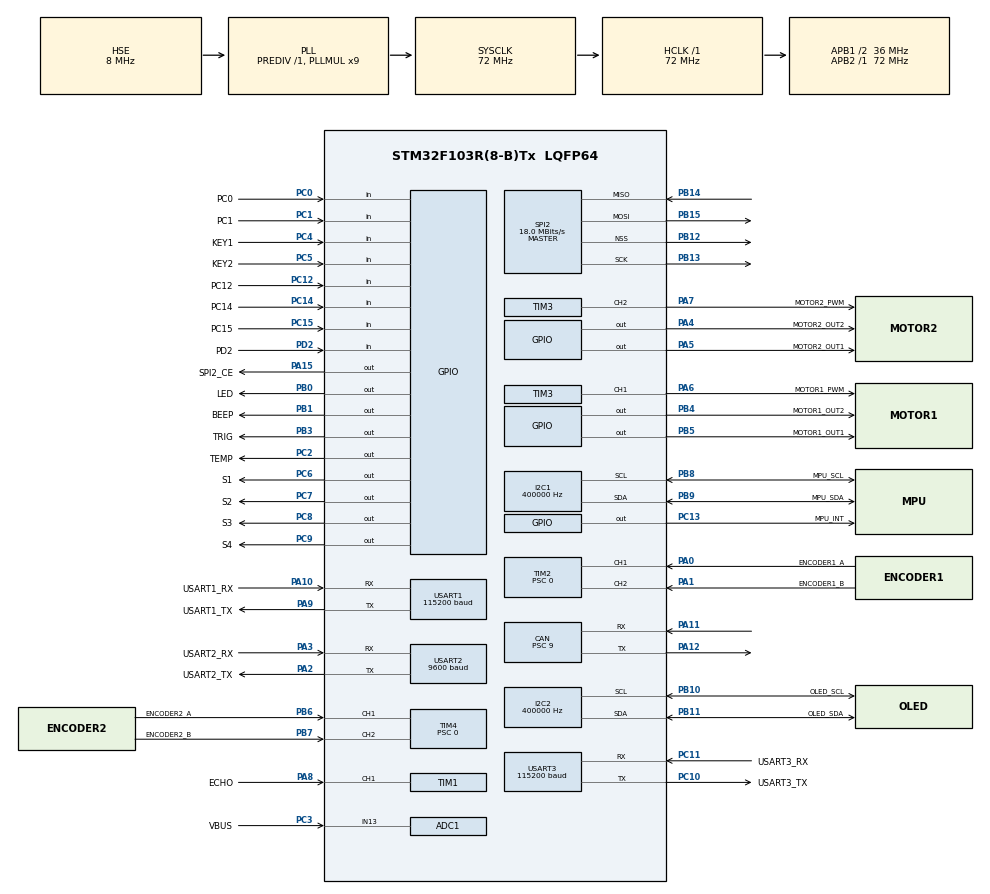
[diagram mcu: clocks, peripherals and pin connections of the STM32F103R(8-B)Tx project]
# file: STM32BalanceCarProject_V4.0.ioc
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ADC1.Channel-0\#ChannelRegularConversion=ADC_CHANNEL_13
ADC1.Channel-IN13=ADC_CHANNEL_13
ADC1.ContinuousConvMode=ENABLE
ADC1.DataAlign=ADC_DATAALIGN_RIGHT
ADC1.DiscontinuousConvMode=DISABLE
ADC1.EnableAnalogWatchDog=false
ADC1.EnableInjectedConversion=DISABLE
ADC1.EnableRegularConversion=ENABLE
ADC1.ExternalTrigConv=ADC_SOFTWARE_START
ADC1.Mode=__NULL
ADC1.NbrOfConversion=1
ADC1.Rank-0\#ChannelRegularConversion=1
ADC1.SamplingTime-0\#ChannelRegularConversion=ADC_SAMPLETIME_1CYCLE_5
ADC1.ScanConvMode=ADC_SCAN_DISABLE
ADC1.master=1
CAN.ABOM=DISABLE
CAN.AWUM=DISABLE
CAN.BS1=CAN_BS1_6TQ
CAN.BS2=CAN_BS2_1TQ
CAN.CalculateBaudRate=500000
CAN.CalculateTimeBit=2000
CAN.CalculateTimeQuantum=250.0
CAN.Mode=CAN_MODE_NORMAL
CAN.NART=DISABLE
CAN.Prescaler=9
CAN.RFLM=DISABLE
CAN.SJW=CAN_SJW_1TQ
CAN.TTCM=DISABLE
CAN.TXFP=DISABLE
I2C1.AddressingMode=I2C_ADDRESSINGMODE_7BIT
I2C1.ClockSpeed=400000
I2C1.DualAddressMode=I2C_DUALADDRESS_DISABLE
I2C1.DutyCycle=I2C_DUTYCYCLE_2
I2C1.GeneralCallMode=I2C_GENERALCALL_DISABLE
I2C1.I2C_Mode=I2C_Fast
I2C1.NoStretchMode=I2C_NOSTRETCH_DISABLE
I2C1.OwnAddress=0
I2C2.AddressingMode=I2C_ADDRESSINGMODE_7BIT
I2C2.ClockSpeed=400000
I2C2.DualAddressMode=I2C_DUALADDRESS_DISABLE
I2C2.DutyCycle=I2C_DUTYCYCLE_2
I2C2.GeneralCallMode=I2C_GENERALCALL_DISABLE
I2C2.I2C_Mode=I2C_Fast
I2C2.NoStretchMode=I2C_NOSTRETCH_DISABLE
I2C2.OwnAddress=0
Mcu.Family=STM32F1
Mcu.Name=STM32F103R(8-B)Tx
Mcu.Package=LQFP64
NVIC.PriorityGroup=NVIC_PRIORITYGROUP_4
NVIC.TIM1_CC_IRQn=true\:2\:0\:true\:false\:true\:true\:true\:true
NVIC.TIM1_UP_IRQn=true\:1\:0\:true\:false\:true\:true\:true\:true
NVIC.USART2_IRQn=true\:0\:0\:false\:false\:true\:true\:true\:true
NVIC.USB_LP_CAN1_RX0_IRQn=true\:0\:0\:false\:false\:true\:true\:true\:true
PA0-WKUP.GPIO_Label=ENCODER1_A
PA0-WKUP.Signal=S_TIM2_CH1_ETR
PA1.GPIO_Label=ENCODER1_B
PA1.Signal=S_TIM2_CH2
PA10.GPIO_Label=USART1_RX
PA10.Mode=Asynchronous
PA10.Signal=USART1_RX
PA11.Mode=CAN_Activate
PA11.Signal=CAN_RX
PA12.Mode=CAN_Activate
PA12.Signal=CAN_TX
PA13.Mode=Serial_Wire
PA13.Signal=SYS_JTMS-SWDIO
PA14.Mode=Serial_Wire
PA14.Signal=SYS_JTCK-SWCLK
PA15.GPIO_Label=SPI2_CE
PA15.Signal=GPIO_Output
PA2.GPIO_Label=USART2_TX
PA2.Mode=Asynchronous
PA2.Signal=USART2_TX
PA3.GPIO_Label=USART2_RX
PA3.Mode=Asynchronous
PA3.Signal=USART2_RX
PA4.GPIO_Label=MOTOR2_OUT2
PA4.PinState=GPIO_PIN_RESET
PA4.Signal=GPIO_Output
PA5.GPIO_Label=MOTOR2_OUT1
PA5.Signal=GPIO_Output
PA6.GPIO_Label=MOTOR1_PWM
PA6.Signal=S_TIM3_CH1
PA7.GPIO_Label=MOTOR2_PWM
PA7.Signal=S_TIM3_CH2
PA8.GPIO_Label=ECHO
PA8.Signal=S_TIM1_CH1
PA9.GPIO_Label=USART1_TX
PA9.Mode=Asynchronous
PA9.Signal=USART1_TX
PB0.GPIO_Label=LED
PB0.Signal=GPIO_Output
PB1.GPIO_Label=BEEP
PB1.PinState=GPIO_PIN_RESET
PB1.Signal=GPIO_Output
PB10.GPIO_Label=OLED_SCL
PB10.Mode=I2C
PB10.Signal=I2C2_SCL
PB11.GPIO_Label=OLED_SDA
PB11.Mode=I2C
PB11.Signal=I2C2_SDA
PB12.Mode=NSS_Signal_Hard_Output
PB12.Signal=SPI2_NSS
PB13.Mode=Full_Duplex_Master
PB13.Signal=SPI2_SCK
PB14.Mode=Full_Duplex_Master
PB14.Signal=SPI2_MISO
PB15.Mode=Full_Duplex_Master
PB15.Signal=SPI2_MOSI
PB3.GPIO_Label=TRIG
PB3.Signal=GPIO_Output
PB4.GPIO_Label=MOTOR1_OUT2
PB4.PinState=GPIO_PIN_RESET
PB4.Signal=GPIO_Output
PB5.GPIO_Label=MOTOR1_OUT1
PB5.Signal=GPIO_Output
PB6.GPIO_Label=ENCODER2_A
PB6.Signal=S_TIM4_CH1
PB7.GPIO_Label=ENCODER2_B
PB7.Signal=S_TIM4_CH2
PB8.GPIO_Label=MPU_SCL
PB8.Mode=I2C
PB8.Signal=I2C1_SCL
PB9.GPIO_Label=MPU_SDA
PB9.Mode=I2C
PB9.Signal=I2C1_SDA
PC0.GPIO_Label=PC0
PC0.Signal=GPIO_Input
PC1.GPIO_Label=PC1
PC1.Signal=GPIO_Input
PC10.GPIO_Label=USART3_TX
PC10.Mode=Asynchronous
PC10.Signal=USART3_TX
PC11.GPIO_Label=USART3_RX
PC11.Mode=Asynchronous
PC11.Signal=USART3_RX
PC12.GPIO_Label=PC12
PC12.Signal=GPIO_Input
PC13-TAMPER-RTC.GPIO_Label=MPU_INT
PC13-TAMPER-RTC.Signal=GPIO_Output
PC14-OSC32_IN.GPIO_Label=PC14
PC14-OSC32_IN.Signal=GPIO_Input
PC15-OSC32_OUT.GPIO_Label=PC15
PC15-OSC32_OUT.Signal=GPIO_Input
PC2.GPIO_Label=TEMP
PC2.GPIO_ModeDefaultOutputPP=GPIO_MODE_OUTPUT_OD
PC2.GPIO_PuPd=GPIO_NOPULL
PC2.GPIO_Speed=GPIO_SPEED_FREQ_HIGH
PC2.PinState=GPIO_PIN_SET
PC2.Signal=GPIO_Output
PC3.GPIO_Label=VBUS
PC3.Signal=ADCx_IN13
PC4.GPIO_Label=KEY1
PC4.GPIO_PuPd=GPIO_PULLUP
PC4.Signal=GPIO_Input
PC5.GPIO_Label=KEY2
PC5.GPIO_PuPd=GPIO_PULLUP
PC5.Signal=GPIO_Input
PC6.GPIO_Label=S1
PC6.Signal=GPIO_Output
PC7.GPIO_Label=S2
PC7.Signal=GPIO_Output
PC8.GPIO_Label=S3
PC8.Signal=GPIO_Output
PC9.GPIO_Label=S4
PC9.Signal=GPIO_Output
PD0-OSC_IN.Mode=HSE-External-Oscillator
PD0-OSC_IN.Signal=RCC_OSC_IN
PD1-OSC_OUT.Mode=HSE-External-Oscillator
PD1-OSC_OUT.Signal=RCC_OSC_OUT
PD2.GPIO_Label=PD2
PD2.Signal=GPIO_Input
ProjectManager.HeapSize=0x200
ProjectManager.StackSize=0x400
ProjectManager.TargetToolchain=MDK-ARM V5.32
RCC.ADCPresc=RCC_ADCPCLK2_DIV6
RCC.AHBFreq_Value=72000000
RCC.APB1CLKDivider=RCC_HCLK_DIV2
RCC.APB1Freq_Value=36000000
RCC.APB1TimFreq_Value=72000000
RCC.APB2Freq_Value=72000000
RCC.APB2TimFreq_Value=72000000
RCC.FLatency=FLASH_LATENCY_2
RCC.HCLKFreq_Value=72000000
RCC.PLLMUL=RCC_PLL_MUL9
RCC.PLLSourceVirtual=RCC_PLLSOURCE_HSE
RCC.SYSCLKFreq_VALUE=72000000
RCC.SYSCLKSource=RCC_SYSCLKSOURCE_PLLCLK
RCC.USBFreq_Value=72000000
SH.ADCx_IN13.0=ADC1_IN13,IN13
SH.S_TIM1_CH1.0=TIM1_CH1,Input_Capture1_from_TI1
SH.S_TIM2_CH1_ETR.0=TIM2_CH1,Encoder_Interface
SH.S_TIM2_CH2.0=TIM2_CH2,Encoder_Interface
SH.S_TIM3_CH1.0=TIM3_CH1,PWM Generation1 CH1
SH.S_TIM3_CH2.0=TIM3_CH2,PWM Generation2 CH2
SH.S_TIM4_CH1.0=TIM4_CH1,Encoder_Interface
SH.S_TIM4_CH2.0=TIM4_CH2,Encoder_Interface
SPI2.BaudRatePrescaler=SPI_BAUDRATEPRESCALER_2
SPI2.CLKPhase=SPI_PHASE_1EDGE
SPI2.CLKPolarity=SPI_POLARITY_LOW
SPI2.CRCCalculation=SPI_CRCCALCULATION_DISABLE
SPI2.CalculateBaudRate=18.0 MBits/s
SPI2.DataSize=SPI_DATASIZE_8BIT
SPI2.Direction=SPI_DIRECTION_2LINES
SPI2.FirstBit=SPI_FIRSTBIT_MSB
SPI2.Mode=SPI_MODE_MASTER
SPI2.NSS=SPI_NSS_HARD_OUTPUT
SPI2.TIMode=SPI_TIMODE_DISABLE
SPI2.VirtualNSS=VM_NSSHARD
SPI2.VirtualType=VM_MASTER
TIM1.AutoReloadPreload=TIM_AUTORELOAD_PRELOAD_ENABLE
TIM1.Channel-Input_Capture1_from_TI1=TIM_CHANNEL_1
TIM1.ClockDivision=TIM_CLOCKDIVISION_DIV1
TIM1.CounterMode=TIM_COUNTERMODE_UP
TIM1.ICFilter_CH1=0
TIM1.ICPolarity_CH1=TIM_INPUTCHANNELPOLARITY_RISING
TIM1.ICPrescaler-Input_Capture1_from_TI1=TIM_ICPSC_DIV1
TIM1.ICSelection-Input_Capture1_from_TI1=TIM_ICSELECTION_DIRECTTI
TIM1.Period=65535
TIM1.Prescaler=71
TIM1.RepetitionCounter=0
TIM1.TIM_MasterOutputTrigger=TIM_TRGO_RESET
TIM1.TIM_MasterSlaveMode=TIM_MASTERSLAVEMODE_DISABLE
TIM2.AutoReloadPreload=TIM_AUTORELOAD_PRELOAD_DISABLE
TIM2.ClockDivision=TIM_CLOCKDIVISION_DIV1
TIM2.CounterMode=TIM_COUNTERMODE_UP
TIM2.EncoderMode=TIM_ENCODERMODE_TI12
TIM2.IC1Filter=15
TIM2.IC1Polarity=TIM_ICPOLARITY_RISING
TIM2.IC1Prescaler=TIM_ICPSC_DIV1
TIM2.IC1Selection=TIM_ICSELECTION_DIRECTTI
TIM2.IC2Filter=15
TIM2.IC2Polarity=TIM_ICPOLARITY_RISING
TIM2.IC2Prescaler=TIM_ICPSC_DIV1
TIM2.IC2Selection=TIM_ICSELECTION_DIRECTTI
TIM2.Period=65535
TIM2.Prescaler=0
TIM2.TIM_MasterOutputTrigger=TIM_TRGO_RESET
TIM2.TIM_MasterSlaveMode=TIM_MASTERSLAVEMODE_DISABLE
TIM3.AutoReloadPreload=TIM_AUTORELOAD_PRELOAD_ENABLE
TIM3.Channel-PWM\ Generation1\ CH1=TIM_CHANNEL_1
TIM3.Channel-PWM\ Generation2\ CH2=TIM_CHANNEL_2
TIM3.ClockDivision=TIM_CLOCKDIVISION_DIV1
TIM3.CounterMode=TIM_COUNTERMODE_UP
TIM3.OC1Preload_PWM=ENABLE
TIM3.OC2Preload_PWM=ENABLE
TIM3.OCFastMode_PWM-PWM\ Generation1\ CH1=TIM_OCFAST_DISABLE
TIM3.OCFastMode_PWM-PWM\ Generation2\ CH2=TIM_OCFAST_DISABLE
TIM3.OCMode_PWM-PWM\ Generation1\ CH1=TIM_OCMODE_PWM1
TIM3.OCMode_PWM-PWM\ Generation2\ CH2=TIM_OCMODE_PWM1
TIM3.OCPolarity_1=TIM_OCPOLARITY_HIGH
TIM3.OCPolarity_2=TIM_OCPOLARITY_HIGH
TIM3.Period=999
TIM3.Prescaler=3
TIM3.Pulse-PWM\ Generation1\ CH1=0
TIM3.Pulse-PWM\ Generation2\ CH2=0
TIM3.TIM_MasterOutputTrigger=TIM_TRGO_RESET
TIM3.TIM_MasterSlaveMode=TIM_MASTERSLAVEMODE_DISABLE
TIM4.AutoReloadPreload=TIM_AUTORELOAD_PRELOAD_DISABLE
TIM4.ClockDivision=TIM_CLOCKDIVISION_DIV1
TIM4.CounterMode=TIM_COUNTERMODE_UP
TIM4.EncoderMode=TIM_ENCODERMODE_TI12
TIM4.IC1Filter=15
TIM4.IC1Polarity=TIM_ICPOLARITY_RISING
TIM4.IC1Prescaler=TIM_ICPSC_DIV1
TIM4.IC1Selection=TIM_ICSELECTION_DIRECTTI
TIM4.IC2Filter=15
TIM4.IC2Polarity=TIM_ICPOLARITY_RISING
TIM4.IC2Prescaler=TIM_ICPSC_DIV1
TIM4.IC2Selection=TIM_ICSELECTION_DIRECTTI
TIM4.Period=65535
TIM4.Prescaler=0
TIM4.TIM_MasterOutputTrigger=TIM_TRGO_RESET
TIM4.TIM_MasterSlaveMode=TIM_MASTERSLAVEMODE_DISABLE
USART1.BaudRate=115200
USART1.Mode=MODE_TX_RX
USART1.Parity=PARITY_NONE
USART1.StopBits=STOPBITS_1
USART1.VirtualMode=VM_ASYNC
USART1.WordLength=WORDLENGTH_8B
USART2.BaudRate=9600
USART2.Mode=MODE_TX_RX
USART2.Parity=PARITY_NONE
USART2.StopBits=STOPBITS_1
USART2.VirtualMode=VM_ASYNC
USART2.WordLength=WORDLENGTH_8B
USART3.BaudRate=115200
USART3.Mode=MODE_TX_RX
USART3.Parity=PARITY_NONE
USART3.StopBits=STOPBITS_1
USART3.VirtualMode=VM_ASYNC
USART3.WordLength=WORDLENGTH_8B
VP_TIM1_VS_ClockSourceINT.Mode=Internal
board=custom

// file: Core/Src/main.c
/* USER CODE BEGIN Header */
/**
  ******************************************************************************
  * @file           : main.c
  * @brief          : Main program body
  ******************************************************************************
  * @attention
  *
  * Copyright (c) 2025 STMicroelectronics.
  * All rights reserved.
  *
  * This software is licensed under terms that can be found in the LICENSE file
  * in the root directory of this software component.
  * If no LICENSE file comes with this software, it is provided AS-IS.
  *
  ******************************************************************************
  */
/* USER CODE END Header */
#include "main.h"
#include "adc.h"
#include "can.h"
#include "i2c.h"
#include "spi.h"
#include "tim.h"
#include "usart.h"
#include "gpio.h"

/* USER CODE BEGIN PTD */
#include "delay.h"
#include "os.h"
#include "mpu6050.h"
#include "bluetoothdata.h"
/* USER CODE END PTD */

void SystemClock_Config(void);

int main(void)
{

  /* MCU Configuration--------------------------------------------------------*/

  /* Reset of all peripherals, Initializes the Flash interface and the Systick. */
  HAL_Init();

  /* Configure the system clock */
  SystemClock_Config();

  /* Initialize all configured peripherals */
  MX_GPIO_Init();
  MX_ADC1_Init();
  MX_CAN_Init();
  MX_SPI2_Init();
  MX_TIM1_Init();
  MX_TIM2_Init();
  MX_TIM3_Init();
  MX_TIM4_Init();
  MX_I2C1_Init();
  MX_I2C2_Init();
  MX_USART1_UART_Init();
  MX_USART2_UART_Init();
  MX_USART3_UART_Init();
  /* USER CODE BEGIN 2 */
	HAL_ADC_Start(&hadc1);// ??ADC??
	HAL_CAN_Start(&hcan);
	HAL_CAN_ActivateNotification(&hcan,CAN_IT_RX_FIFO0_MSG_PENDING);
	HAL_TIM_Encoder_Start(&htim2, TIM_CHANNEL_ALL);//??TIM4????????
	HAL_TIM_Encoder_Start(&htim4, TIM_CHANNEL_ALL);//??TIM4????????
	HAL_TIM_PWM_Start(&htim3,TIM_CHANNEL_1);
	HAL_TIM_PWM_Start(&htim3,TIM_CHANNEL_2);
	HAL_UART_Receive_IT(&huart2, Rxbuffer, sizeof(Rxbuffer));
	delay_init();
	#if USE_NEW_OS
	OS_Init();
	#else
	Os_Init();
	#endif
  /* USER CODE END 2 */

  /* Infinite loop */
  while (1)
  {

    /* USER CODE BEGIN 3 */

		MPU6050_Pose();
		#if USE_NEW_OS
		OS_Scheduler();
		#else
		Os_Task();
		#endif

  }
  /* USER CODE END 3 */
}

void SystemClock_Config(void)
{
  RCC_OscInitTypeDef RCC_OscInitStruct = {0};
  RCC_ClkInitTypeDef RCC_ClkInitStruct = {0};
  RCC_PeriphCLKInitTypeDef PeriphClkInit = {0};

  /** Initializes the RCC Oscillators according to the specified parameters
  * in the RCC_OscInitTypeDef structure.
  */
  RCC_OscInitStruct.OscillatorType = RCC_OSCILLATORTYPE_HSE;
  RCC_OscInitStruct.HSEState = RCC_HSE_ON;
  RCC_OscInitStruct.HSEPredivValue = RCC_HSE_PREDIV_DIV1;
  RCC_OscInitStruct.HSIState = RCC_HSI_ON;
  RCC_OscInitStruct.PLL.PLLState = RCC_PLL_ON;
  RCC_OscInitStruct.PLL.PLLSource = RCC_PLLSOURCE_HSE;
  RCC_OscInitStruct.PLL.PLLMUL = RCC_PLL_MUL9;
  if (HAL_RCC_OscConfig(&RCC_OscInitStruct) != HAL_OK)
  {
    Error_Handler();
  }

  /** Initializes the CPU, AHB and APB buses clocks
  */
  RCC_ClkInitStruct.ClockType = RCC_CLOCKTYPE_HCLK|RCC_CLOCKTYPE_SYSCLK
                              |RCC_CLOCKTYPE_PCLK1|RCC_CLOCKTYPE_PCLK2;
  RCC_ClkInitStruct.SYSCLKSource = RCC_SYSCLKSOURCE_PLLCLK;
  RCC_ClkInitStruct.AHBCLKDivider = RCC_SYSCLK_DIV1;
  RCC_ClkInitStruct.APB1CLKDivider = RCC_HCLK_DIV2;
  RCC_ClkInitStruct.APB2CLKDivider = RCC_HCLK_DIV1;

  if (HAL_RCC_ClockConfig(&RCC_ClkInitStruct, FLASH_LATENCY_2) != HAL_OK)
  {
    Error_Handler();
  }
  PeriphClkInit.PeriphClockSelection = RCC_PERIPHCLK_ADC;
  PeriphClkInit.AdcClockSelection = RCC_ADCPCLK2_DIV6;
  if (HAL_RCCEx_PeriphCLKConfig(&PeriphClkInit) != HAL_OK)
  {
    Error_Handler();
  }
}

/* USER CODE BEGIN 4 */
void HAL_UART_RxCpltCallback(UART_HandleTypeDef *huart)
{
	if(huart->Instance == USART2)
	{
		ReceiveBluetoothData();
	}
}
/* USER CODE END 4 */

void Error_Handler(void)
{
  __disable_irq();
  while (1)
  {
  }
}
